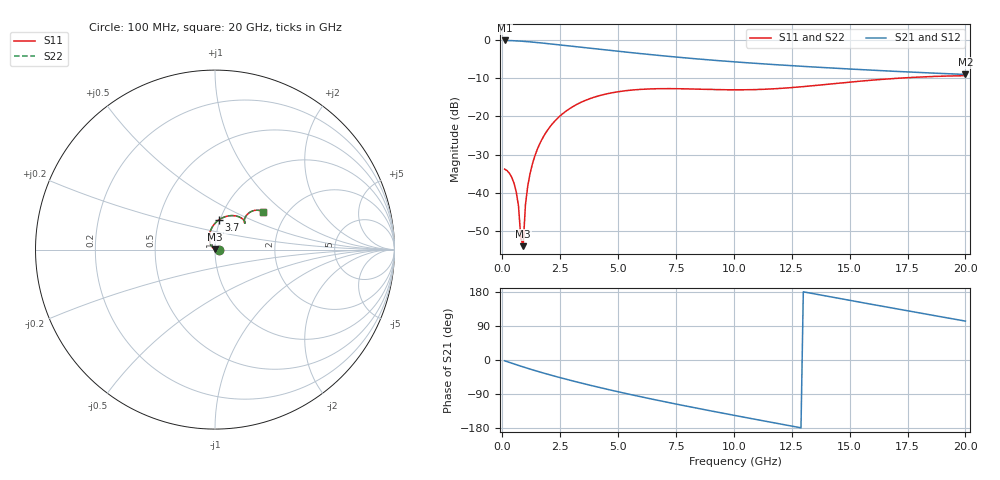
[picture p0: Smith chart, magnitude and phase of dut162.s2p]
! Created with skrf 1.9.0 (http://scikit-rf.org).
# GHz S RI R 50.0
!freq ReS11 ImS11 ReS21 ImS21 ReS12 ImS12 ReS22 ImS22
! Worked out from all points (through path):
!   200 points, 100 MHz to 20 GHz, reference 50 ohm
!   highest |S21| = -0.19 dB at 100 MHz (marker M1); lowest = -9.1 dB at 20 GHz (marker M2)
!   group delay of S21, straight-line fit = 34.1 ps
!   lowest |S11| = -53.9 dB at 900 MHz (marker M3), VSWR 1.00, Z = 49.8 + j0.116 ohm
!   |S11| at or under -10 dB: start of sweep to 17.23 GHz
!   |S22| runs from -53.9 to -9.4 dB; largest |S21 - S12| = 2.2e-15
!   S11 on the Smith chart (normalised r, x): 100 MHz: 1.04, -0.00; 3.7 GHz: 0.99, +0.34; 20 GHz: 1.52, +0.72
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0.1  0.0204 -0.00115  0.9783 -0.0354  0.9783 -0.0354  0.0204 -0.00115
0.4  0.0158 -0.00357  0.9636 -0.1398  0.9636 -0.1398  0.0158 -0.00357
0.6  0.00984 -0.00342  0.9451 -0.2061  0.9451 -0.2061  0.00984 -0.00342
0.7  0.00625 -0.00253  0.9336 -0.2379  0.9336 -0.2379  0.00625 -0.00253
0.8  0.00239 -0.00101  0.9206 -0.2687  0.9206 -0.2687  0.00239 -0.00101
0.9  -0.00165 0.00116  0.9064 -0.2985  0.9064 -0.2985  -0.00165 0.00116
1  -0.00575 0.004  0.891 -0.3271  0.891 -0.3271  -0.00575 0.004
1.1  -0.0098 0.00749  0.8746 -0.3546  0.8746 -0.3546  -0.0098 0.00749
1.3  -0.0174 0.0163  0.8392 -0.406  0.8392 -0.406  -0.0174 0.0163
1.5  -0.0238 0.0273  0.8009 -0.4527  0.8009 -0.4527  -0.0238 0.0273
1.9  -0.0313 0.0539  0.7185 -0.5325  0.7185 -0.5325  -0.0313 0.0539
2.3  -0.0307 0.0832  0.6318 -0.5955  0.6318 -0.5955  -0.0307 0.0832
2.8  -0.0193 0.1182  0.5214 -0.6534  0.5214 -0.6534  -0.0193 0.1182
3.5  0.0108 0.1569  0.3691 -0.7012  0.3691 -0.7012  0.0108 0.1569
3.7  0.0212 0.1652  0.3269 -0.7087  0.3269 -0.7087  0.0212 0.1652
5.1  0.0943 0.1895  0.0588 -0.6998  0.0588 -0.6998  0.0943 0.1895
6.8  0.1512 0.1728  -0.187 -0.5936  -0.187 -0.5936  0.1512 0.1728
8.4  0.1679 0.1523  -0.3393 -0.4487  -0.3393 -0.4487  0.1679 0.1523
10.1  0.1657 0.1474  -0.43 -0.2787  -0.43 -0.2787  0.1657 0.1474
13.4  0.1705 0.1838  -0.4401 0.0355  -0.4401 0.0355  0.1705 0.1838
16.7  0.2185 0.2178  -0.2931 0.2577  -0.2931 0.2577  0.2185 0.2178
20  0.2666 0.21  -0.0772 0.344  -0.0772 0.344  0.2666 0.21
